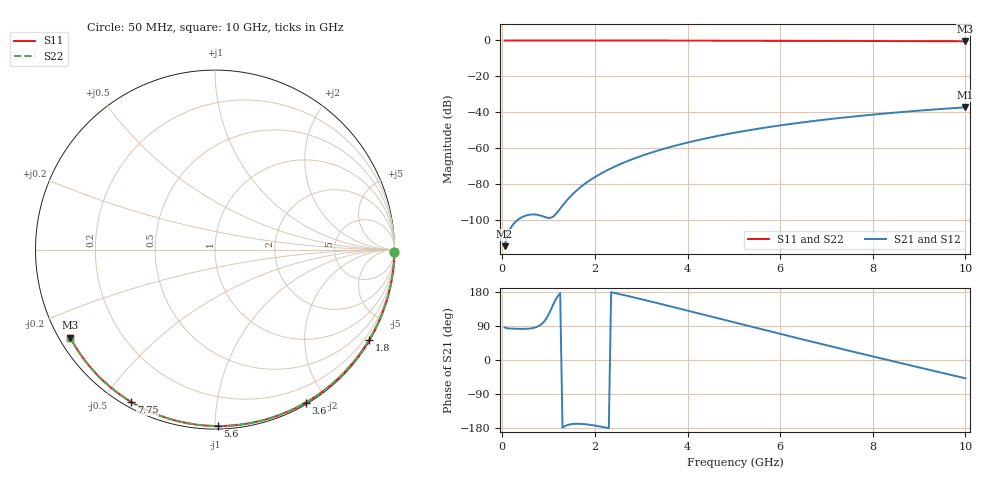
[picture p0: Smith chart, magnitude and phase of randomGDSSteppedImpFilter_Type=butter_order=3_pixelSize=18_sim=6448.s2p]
! freq	dB(S11)	phase(S11)	dB(S12)	phase(S12)
!  dB(S21)	phase(S21)	dB(S22)	phase(S22)
!S-par simulation data
#  GHz  S  DB  R 50
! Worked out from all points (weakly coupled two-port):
!   200 points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, 50 MHz to 10 GHz, reference 50 ohm
!   highest |S21| = -37.16 dB at 10 GHz (marker M1); lowest = -114.4 dB at 50 MHz (marker M2)
!   lowest |S11| = -0.5 dB at 10 GHz (marker M3), VSWR 34.48, Z = 1.56 - j14 ohm
!   |S11| at or under -10 dB: nowhere
!   |S22| runs from -0.5 to 0.0 dB; largest |S21 - S12| = 0
!   S11 on the Smith chart (normalised r, x): 50 MHz: open; 1.8 GHz: 0.03, -3.68; 3.6 GHz: 0.02, -1.76; 5.6 GHz: 0.02, -1.02; 7.75 GHz: 0.02, -0.59; 10 GHz: 0.03, -0.28
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0.05  -0.00 -0.9  -114.38 86.0  -114.38 86.0  -0.00 -0.9
0.45  -0.01 -7.7  -97.94 82.1  -97.94 82.1  -0.01 -7.7
0.9  -0.02 -15.4  -98.00 101.0  -98.00 101.0  -0.02 -15.4
1.3  -0.03 -22.1  -91.83 -178.3  -91.83 -178.3  -0.03 -22.1
1.75  -0.04 -29.6  -80.34 -169.0  -80.34 -169.0  -0.04 -29.6
1.8  -0.04 -30.4  -79.38 -169.6  -79.38 -169.6  -0.04 -30.4
1.95  -0.04 -32.9  -76.76 -172.1  -76.76 -172.1  -0.04 -32.9
2.1  -0.05 -35.4  -74.45 -175.2  -74.45 -175.2  -0.05 -35.4
2.3  -0.05 -38.6  -71.71 -180.0  -71.71 -180.0  -0.05 -38.6
2.5  -0.05 -41.9  -69.29 174.8  -69.29 174.8  -0.05 -41.9
2.9  -0.06 -48.3  -65.14 163.5  -65.14 163.5  -0.06 -48.3
3.4  -0.07 -56.2  -60.90 148.6  -60.90 148.6  -0.07 -56.2
3.6  -0.08 -59.3  -59.43 142.6  -59.43 142.6  -0.08 -59.3
4.3  -0.10 -70.0  -54.98 121.1  -54.98 121.1  -0.10 -70.0
5.05  -0.13 -81.2  -51.14 98.1  -51.14 98.1  -0.13 -81.2
5.6  -0.15 -89.1  -48.76 81.2  -48.76 81.2  -0.15 -89.1
6.15  -0.17 -96.9  -46.68 64.5  -46.68 64.5  -0.17 -96.9
6.7  -0.20 -104.5  -44.84 47.9  -44.84 47.9  -0.20 -104.5
7.75  -0.28 -118.8  -41.86 16.7  -41.86 16.7  -0.28 -118.8
8.35  -0.33 -126.8  -40.41 -0.8  -40.41 -0.8  -0.33 -126.8
9.2  -0.41 -138.1  -38.61 -25.4  -38.61 -25.4  -0.41 -138.1
10  -0.50 -148.7  -37.16 -48.3  -37.16 -48.3  -0.50 -148.7
